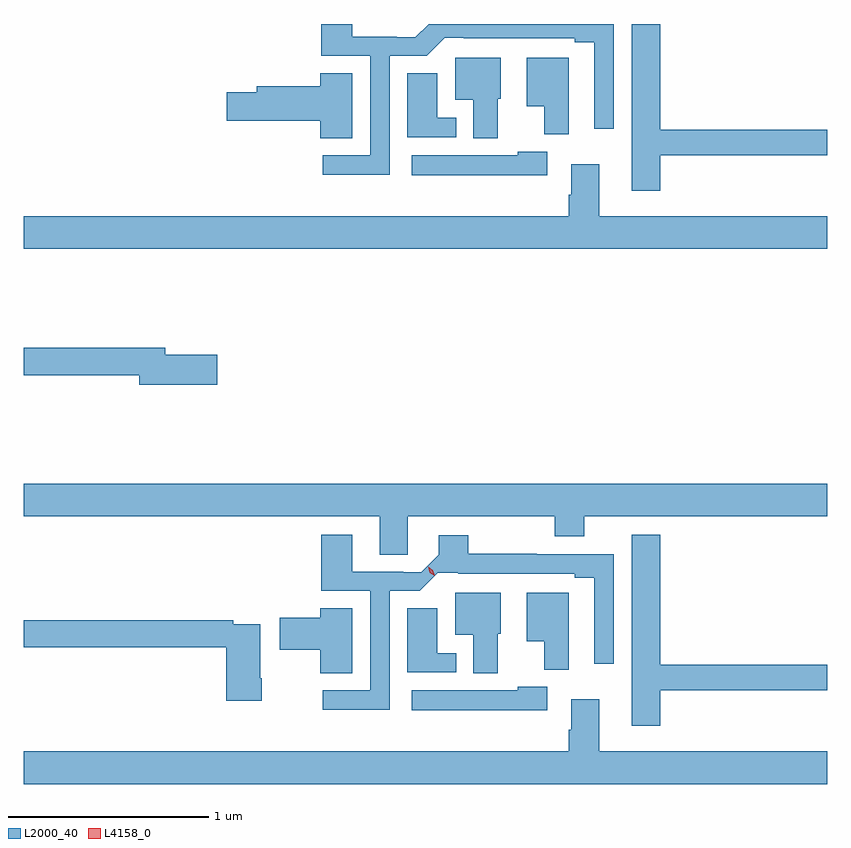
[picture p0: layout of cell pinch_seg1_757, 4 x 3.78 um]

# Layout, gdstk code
import gdstk
lib = gdstk.Library(unit=1e-6, precision=1e-09)
def P(c, l, *ps):  # polygons
    for p in ps: c.add(gdstk.Polygon(p, *l))
L2000_40 = (2000, 40)
L4158_0 = (4158, 0)

pinch_seg1_757 = lib.new_cell('pinch_seg1_757')
P(pinch_seg1_757, L2000_40, [(843.041,524.226),(843.871,524.226),(843.871,524.354),(843.041,524.354),(843.041,524.88),(842.897,524.88),(842.897,524.049),(843.041,524.049)],
  [(841.692,524.721),(841.876,524.721),(841.966,524.811),(842.062,524.811),(842.062,524.808),(842.615,524.808),(842.615,524.788),(842.712,524.788),(842.712,524.358),(842.808,524.358),(842.808,524.88),(841.887,524.88),(841.821,524.814),(841.727,524.814),(841.727,524.817),(841.507,524.817),(841.507,524.88),(841.352,524.88),(841.352,524.721),(841.596,524.721),(841.596,524.226),(841.359,524.226),(841.359,524.129),(841.692,524.129)],
  [(842.23,524.508),(842.245,524.508),(842.245,524.713),(842.018,524.713),(842.018,524.504),(842.108,524.504),(842.108,524.312),(842.23,524.312)],
  [(842.584,524.713),(842.375,524.713),(842.375,524.471),(842.462,524.471),(842.462,524.33),(842.584,524.33)],
  [(842.023,524.412),(841.93,524.412),(841.93,524.636),(841.781,524.636),(841.781,524.316),(842.023,524.316)],
  [(841.507,524.636),(841.346,524.636),(841.346,524.57),(841.031,524.57),(841.031,524.54),(840.882,524.54),(840.882,524.398),(841.346,524.398),(841.346,524.311),(841.507,524.311)],
  [(842.476,524.245),(842.331,524.245),(842.331,524.227),(841.803,524.227),(841.803,524.126),(842.476,524.126)],
  [(843.871,523.924),(842.737,523.924),(842.737,524.182),(842.597,524.182),(842.597,524.03),(842.585,524.03),(842.585,523.924),(839.871,523.924),(839.871,523.76),(843.871,523.76)],
  [(840.835,523.232),(840.574,523.232),(840.574,523.268),(839.871,523.268),(839.871,523.132),(840.446,523.132),(840.446,523.085),(840.835,523.085)],
  [(841.783,522.428),(842.515,522.428),(842.515,522.329),(842.662,522.329),(842.662,522.428),(843.871,522.428),(843.871,522.592),(839.871,522.592),(839.871,522.428),(841.643,522.428),(841.643,522.238),(841.783,522.238)],
  [(843.041,521.562),(843.871,521.562),(843.871,521.69),(843.041,521.69),(843.041,522.337),(842.897,522.337),(842.897,521.385),(843.041,521.385)],
  [(841.692,522.057),(841.843,522.057),(841.933,522.147),(842.033,522.147),(842.033,522.144),(842.615,522.144),(842.615,522.124),(842.712,522.124),(842.712,521.694),(842.808,521.694),(842.808,522.24),(842.426,522.24),(842.426,522.242),(842.085,522.242),(842.085,522.334),(841.937,522.334),(841.937,522.238),(841.849,522.15),(841.761,522.15),(841.761,522.153),(841.507,522.153),(841.507,522.337),(841.352,522.337),(841.352,522.057),(841.596,522.057),(841.596,521.562),(841.359,521.562),(841.359,521.465),(841.692,521.465)],
  [(842.23,521.844),(842.245,521.844),(842.245,522.049),(842.018,522.049),(842.018,521.84),(842.108,521.84),(842.108,521.648),(842.23,521.648)],
  [(842.584,522.049),(842.375,522.049),(842.375,521.807),(842.462,521.807),(842.462,521.666),(842.584,521.666)],
  [(841.507,521.972),(841.346,521.972),(841.346,521.923),(841.146,521.923),(841.146,521.765),(841.346,521.765),(841.346,521.647),(841.507,521.647)],
  [(842.023,521.748),(841.93,521.748),(841.93,521.972),(841.781,521.972),(841.781,521.652),(842.023,521.652)],
  [(841.056,521.623),(841.048,521.623),(841.048,521.892),(840.914,521.892),(840.914,521.912),(839.871,521.912),(839.871,521.776),(840.878,521.776),(840.878,521.511),(841.056,521.511)],
  [(842.476,521.581),(842.331,521.581),(842.331,521.563),(841.803,521.563),(841.803,521.462),(842.476,521.462)],
  [(843.871,521.26),(842.737,521.26),(842.737,521.518),(842.597,521.518),(842.597,521.366),(842.585,521.366),(842.585,521.26),(839.871,521.26),(839.871,521.096),(843.871,521.096)])
P(pinch_seg1_757, L4158_0, [(841.916,522.132),(841.892,522.149),(841.884,522.177),(841.884,522.178),(841.884,522.178),(841.908,522.16),(841.916,522.132),(841.916,522.132)])

lib.write_gds('pinch_seg1_757.gds')
